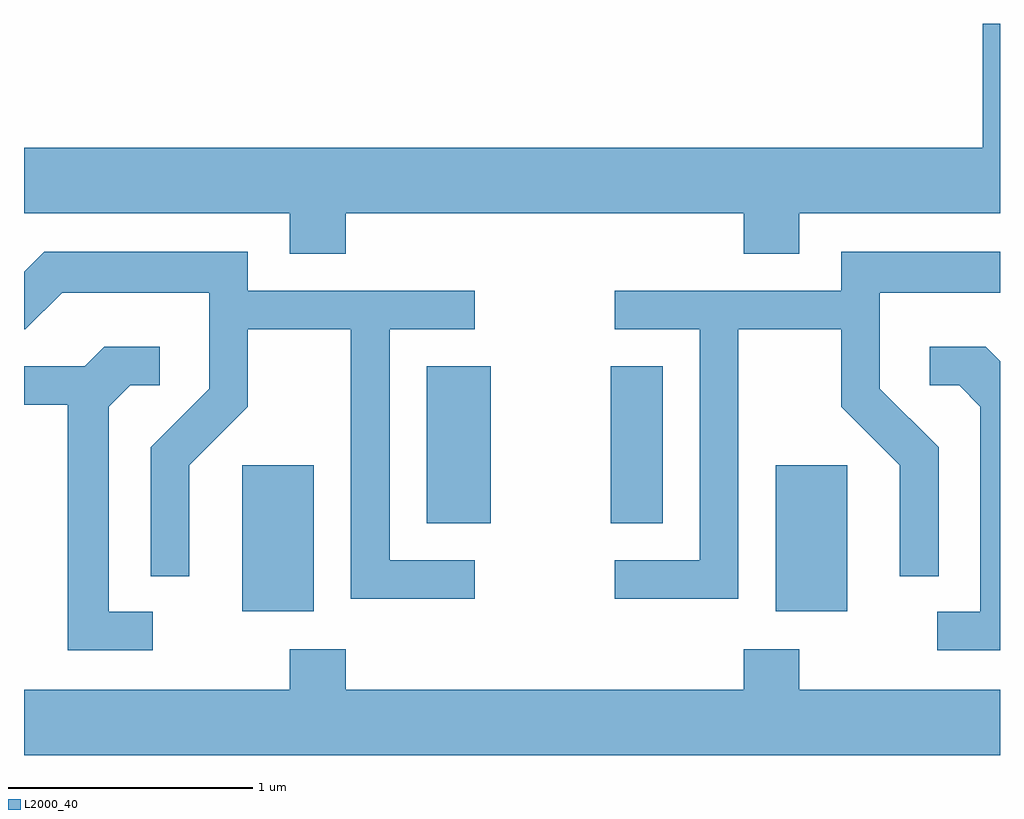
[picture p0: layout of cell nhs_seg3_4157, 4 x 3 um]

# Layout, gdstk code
import gdstk
lib = gdstk.Library(unit=1e-6, precision=1e-09)
def R(c, l, rs):  # rectangles x0, y0, x1, y1
    for r in rs: c.add(gdstk.rectangle(r[:2], r[2:], *l))
def P(c, l, *ps):  # polygons
    for p in ps: c.add(gdstk.Polygon(p, *l))
L2000_40 = (2000, 40)

nhs_seg3_4157 = lib.new_cell('nhs_seg3_4157')
R(nhs_seg3_4157, L2000_40, [(308.506,1135.486,308.799,1136.084), (310.691,1135.486,310.984,1136.084), (309.261,1135.846,309.524,1136.489), (310.016,1135.846,310.229,1136.489)])
P(nhs_seg3_4157, L2000_40, [(308.929,1137.116),(310.561,1137.116),(310.561,1136.951),(310.789,1136.951),(310.789,1137.116),(311.611,1137.116),(311.611,1137.892),(311.541,1137.892),(311.541,1137.384),(307.611,1137.384),(307.611,1137.116),(308.701,1137.116),(308.701,1136.951),(308.929,1136.951)],
  [(309.458,1135.694),(309.109,1135.694),(309.109,1136.641),(309.458,1136.641),(309.458,1136.799),(308.529,1136.799),(308.529,1136.959),(307.694,1136.959),(307.611,1136.876),(307.611,1136.641),(307.617,1136.641),(307.767,1136.791),(308.371,1136.791),(308.371,1136.397),(308.131,1136.157),(308.131,1135.628),(308.289,1135.628),(308.289,1136.084),(308.529,1136.324),(308.529,1136.641),(308.951,1136.641),(308.951,1135.536),(309.458,1135.536)],
  [(310.539,1136.641),(310.961,1136.641),(310.961,1136.324),(311.201,1136.084),(311.201,1135.628),(311.359,1135.628),(311.359,1136.157),(311.119,1136.397),(311.119,1136.791),(311.611,1136.791),(311.611,1136.959),(310.961,1136.959),(310.961,1136.799),(310.033,1136.799),(310.033,1136.641),(310.381,1136.641),(310.381,1135.694),(310.033,1135.694),(310.033,1135.536),(310.539,1135.536)],
  [(308.138,1135.484),(307.959,1135.484),(307.959,1136.324),(308.047,1136.411),(308.168,1136.411),(308.168,1136.569),(307.939,1136.569),(307.859,1136.489),(307.611,1136.489),(307.611,1136.331),(307.791,1136.331),(307.791,1135.326),(308.138,1135.326)],
  [(311.611,1136.51),(311.552,1136.569),(311.323,1136.569),(311.323,1136.411),(311.444,1136.411),(311.531,1136.324),(311.531,1135.484),(311.353,1135.484),(311.353,1135.326),(311.611,1135.326)],
  [(311.611,1135.164),(310.789,1135.164),(310.789,1135.329),(310.561,1135.329),(310.561,1135.164),(308.929,1135.164),(308.929,1135.329),(308.701,1135.329),(308.701,1135.164),(307.611,1135.164),(307.611,1134.896),(311.611,1134.896)])

lib.write_gds('nhs_seg3_4157.gds')
